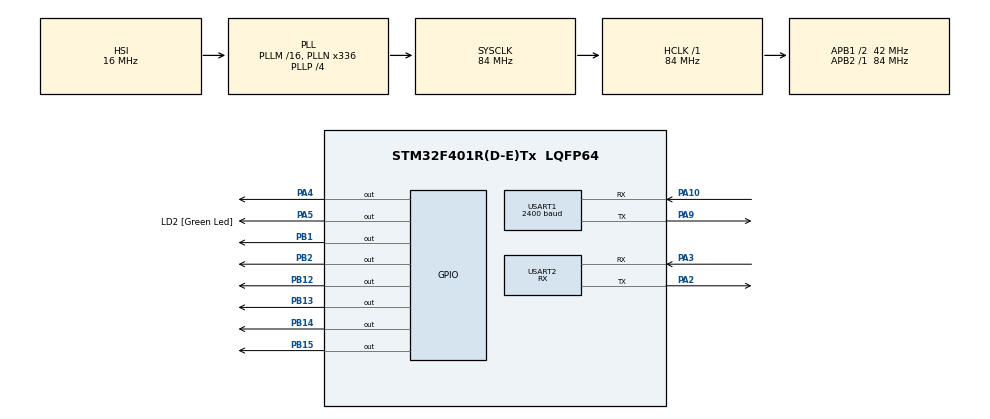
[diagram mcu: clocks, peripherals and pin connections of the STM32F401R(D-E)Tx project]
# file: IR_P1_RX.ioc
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Mcu.Family=STM32F4
Mcu.Name=STM32F401R(D-E)Tx
Mcu.Package=LQFP64
NVIC.PriorityGroup=NVIC_PRIORITYGROUP_0
NVIC.USART1_IRQn=true\:0\:0\:false\:false\:true\:true\:true\:true
NVIC.USART2_IRQn=true\:0\:0\:false\:false\:true\:true\:true\:true
PA10.Mode=Asynchronous
PA10.Signal=USART1_RX
PA13.GPIO_Label=TMS
PA13.Mode=Serial_Wire
PA13.Signal=SYS_JTMS-SWDIO
PA14.GPIO_Label=TCK
PA14.Mode=Serial_Wire
PA14.Signal=SYS_JTCK-SWCLK
PA2.Mode=Asynchronous
PA2.Signal=USART2_TX
PA3.Mode=Asynchronous
PA3.Signal=USART2_RX
PA4.Signal=GPIO_Output
PA5.GPIO_Label=LD2 [Green Led]
PA5.GPIO_Mode=GPIO_MODE_OUTPUT_PP
PA5.GPIO_PuPd=GPIO_NOPULL
PA5.GPIO_Speed=GPIO_SPEED_FREQ_LOW
PA5.Signal=GPIO_Output
PA9.Mode=Asynchronous
PA9.Signal=USART1_TX
PB1.Signal=GPIO_Output
PB12.Signal=GPIO_Output
PB13.Signal=GPIO_Output
PB14.Signal=GPIO_Output
PB15.Signal=GPIO_Output
PB2.Signal=GPIO_Output
PB3.GPIO_Label=SWO
PB3.Signal=SYS_JTDO-SWO
PC14-OSC32_IN.Mode=LSE-External-Oscillator
PC14-OSC32_IN.Signal=RCC_OSC32_IN
PC15-OSC32_OUT.Mode=LSE-External-Oscillator
PC15-OSC32_OUT.Signal=RCC_OSC32_OUT
PH0\ -\ OSC_IN.Mode=HSE-External-Clock-Source
PH0\ -\ OSC_IN.Signal=RCC_OSC_IN
PH1\ -\ OSC_OUT.Mode=HSE-External-Clock-Source
PH1\ -\ OSC_OUT.Signal=RCC_OSC_OUT
ProjectManager.HeapSize=0x200
ProjectManager.StackSize=0x400
ProjectManager.TargetToolchain=STM32CubeIDE
RCC.48MHZClocksFreq_Value=48000000
RCC.AHBFreq_Value=84000000
RCC.APB1CLKDivider=RCC_HCLK_DIV2
RCC.APB1Freq_Value=42000000
RCC.APB1TimFreq_Value=84000000
RCC.APB2Freq_Value=84000000
RCC.APB2TimFreq_Value=84000000
RCC.CortexFreq_Value=84000000
RCC.HCLKFreq_Value=84000000
RCC.HSE_VALUE=8000000
RCC.HSI_VALUE=16000000
RCC.PLLN=336
RCC.PLLP=RCC_PLLP_DIV4
RCC.PLLQ=7
RCC.SYSCLKFreq_VALUE=84000000
RCC.SYSCLKSource=RCC_SYSCLKSOURCE_PLLCLK
RCC.VCOOutputFreq_Value=336000000
USART1.BaudRate=2400
USART1.VirtualMode=VM_ASYNC
USART2.Mode=MODE_RX
USART2.VirtualMode=VM_ASYNC
board=NUCLEO-F401RE

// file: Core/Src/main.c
/* USER CODE BEGIN Header */
/**
  ******************************************************************************
  * @file           : main.c
  * @brief          : Main program body
  ******************************************************************************
  * @attention
  *
  * Copyright (c) 2024 STMicroelectronics.
  * All rights reserved.
  *
  * This software is licensed under terms that can be found in the LICENSE file
  * in the root directory of this software component.
  * If no LICENSE file comes with this software, it is provided AS-IS.
  *
  ******************************************************************************
  */
/* USER CODE END Header */
#include "main.h"

/* USER CODE BEGIN Includes */
#include "PMDB16_LCD.h"
#include "stdio.h"

/* USER CODE END Includes */

UART_HandleTypeDef huart1;
UART_HandleTypeDef huart2;

void SystemClock_Config(void);
static void MX_GPIO_Init(void);
static void MX_USART2_UART_Init(void);
static void MX_USART1_UART_Init(void);
/* USER CODE BEGIN PFP */
uint8_t	RX_data;     // Array that contains the ASCII information of the data transfer size
uint8_t packet_size;         // The size of the packet that has to be received, converted into integer
int rx_flag = 0;             // Packet Size Received Flag
char c;			    		 // It stores char of RxData[i]
char string[1] = {0};   // It stores the entire string received
int row = 0;		 // LCD line selector
/* USER CODE END PFP */

/* USER CODE BEGIN 0 */

void HAL_UART_RxCpltCallback(UART_HandleTypeDef *huart) {
	if (huart == &huart1) {
		sprintf(&string, "%c", RX_data);						// Convert data into a char
		lcd_clear();											// Clear the display
		lcd_println(string, row);								// Print the new word
		HAL_UART_Transmit_IT(&huart2, (uint8_t*)string, 1);		// Send to matlab uart
		memset(string, 0, sizeof(string));
		HAL_UART_Receive_IT(&huart1, RX_data, 1); 	// Proceed with getting the new data transmission
	}
}
/* USER CODE END 0 */

int main(void)
{

  /* MCU Configuration--------------------------------------------------------*/

  /* Reset of all peripherals, Initializes the Flash interface and the Systick. */
  HAL_Init();

  /* Configure the system clock */
  SystemClock_Config();

  /* Initialize all configured peripherals */
  MX_GPIO_Init();
  MX_USART2_UART_Init();
  MX_USART1_UART_Init();
  /* USER CODE BEGIN 2 */

  lcd_initialize();
  lcd_backlight_ON();
  lcd_clear();
  HAL_UART_Receive_IT(&huart1, RX_data, 1); // Receive the first byte
  /* USER CODE END 2 */

  /* Infinite loop */
  while (1)
  {

  }
}

void SystemClock_Config(void)
{
  RCC_OscInitTypeDef RCC_OscInitStruct = {0};
  RCC_ClkInitTypeDef RCC_ClkInitStruct = {0};

  /** Configure the main internal regulator output voltage
  */
  __HAL_RCC_PWR_CLK_ENABLE();
  __HAL_PWR_VOLTAGESCALING_CONFIG(PWR_REGULATOR_VOLTAGE_SCALE2);

  /** Initializes the RCC Oscillators according to the specified parameters
  * in the RCC_OscInitTypeDef structure.
  */
  RCC_OscInitStruct.OscillatorType = RCC_OSCILLATORTYPE_HSI;
  RCC_OscInitStruct.HSIState = RCC_HSI_ON;
  RCC_OscInitStruct.HSICalibrationValue = RCC_HSICALIBRATION_DEFAULT;
  RCC_OscInitStruct.PLL.PLLState = RCC_PLL_ON;
  RCC_OscInitStruct.PLL.PLLSource = RCC_PLLSOURCE_HSI;
  RCC_OscInitStruct.PLL.PLLM = 16;
  RCC_OscInitStruct.PLL.PLLN = 336;
  RCC_OscInitStruct.PLL.PLLP = RCC_PLLP_DIV4;
  RCC_OscInitStruct.PLL.PLLQ = 7;
  if (HAL_RCC_OscConfig(&RCC_OscInitStruct) != HAL_OK)
  {
    Error_Handler();
  }

  /** Initializes the CPU, AHB and APB buses clocks
  */
  RCC_ClkInitStruct.ClockType = RCC_CLOCKTYPE_HCLK|RCC_CLOCKTYPE_SYSCLK
                              |RCC_CLOCKTYPE_PCLK1|RCC_CLOCKTYPE_PCLK2;
  RCC_ClkInitStruct.SYSCLKSource = RCC_SYSCLKSOURCE_PLLCLK;
  RCC_ClkInitStruct.AHBCLKDivider = RCC_SYSCLK_DIV1;
  RCC_ClkInitStruct.APB1CLKDivider = RCC_HCLK_DIV2;
  RCC_ClkInitStruct.APB2CLKDivider = RCC_HCLK_DIV1;

  if (HAL_RCC_ClockConfig(&RCC_ClkInitStruct, FLASH_LATENCY_2) != HAL_OK)
  {
    Error_Handler();
  }
}

static void MX_USART1_UART_Init(void)
{

  huart1.Instance = USART1;
  huart1.Init.BaudRate = 2400;
  huart1.Init.WordLength = UART_WORDLENGTH_8B;
  huart1.Init.StopBits = UART_STOPBITS_1;
  huart1.Init.Parity = UART_PARITY_NONE;
  huart1.Init.Mode = UART_MODE_TX_RX;
  huart1.Init.HwFlowCtl = UART_HWCONTROL_NONE;
  huart1.Init.OverSampling = UART_OVERSAMPLING_16;
  if (HAL_UART_Init(&huart1) != HAL_OK)
  {
    Error_Handler();
  }

}

static void MX_USART2_UART_Init(void)
{

  huart2.Instance = USART2;
  huart2.Init.BaudRate = 115200;
  huart2.Init.WordLength = UART_WORDLENGTH_8B;
  huart2.Init.StopBits = UART_STOPBITS_1;
  huart2.Init.Parity = UART_PARITY_NONE;
  huart2.Init.Mode = UART_MODE_RX;
  huart2.Init.HwFlowCtl = UART_HWCONTROL_NONE;
  huart2.Init.OverSampling = UART_OVERSAMPLING_16;
  if (HAL_UART_Init(&huart2) != HAL_OK)
  {
    Error_Handler();
  }

}

static void MX_GPIO_Init(void)
{
  GPIO_InitTypeDef GPIO_InitStruct = {0};

  /* GPIO Ports Clock Enable */
  __HAL_RCC_GPIOC_CLK_ENABLE();
  __HAL_RCC_GPIOH_CLK_ENABLE();
  __HAL_RCC_GPIOA_CLK_ENABLE();
  __HAL_RCC_GPIOB_CLK_ENABLE();

  /*Configure GPIO pin Output Level */
  HAL_GPIO_WritePin(GPIOA, GPIO_PIN_4|LD2_Pin, GPIO_PIN_RESET);

  /*Configure GPIO pin Output Level */
  HAL_GPIO_WritePin(GPIOB, GPIO_PIN_1|GPIO_PIN_2|GPIO_PIN_12|GPIO_PIN_13
                          |GPIO_PIN_14|GPIO_PIN_15, GPIO_PIN_RESET);

  /*Configure GPIO pins : PA4 LD2_Pin */
  GPIO_InitStruct.Pin = GPIO_PIN_4|LD2_Pin;
  GPIO_InitStruct.Mode = GPIO_MODE_OUTPUT_PP;
  GPIO_InitStruct.Pull = GPIO_NOPULL;
  GPIO_InitStruct.Speed = GPIO_SPEED_FREQ_LOW;
  HAL_GPIO_Init(GPIOA, &GPIO_InitStruct);

  /*Configure GPIO pins : PB1 PB2 PB12 PB13
                           PB14 PB15 */
  GPIO_InitStruct.Pin = GPIO_PIN_1|GPIO_PIN_2|GPIO_PIN_12|GPIO_PIN_13
                          |GPIO_PIN_14|GPIO_PIN_15;
  GPIO_InitStruct.Mode = GPIO_MODE_OUTPUT_PP;
  GPIO_InitStruct.Pull = GPIO_NOPULL;
  GPIO_InitStruct.Speed = GPIO_SPEED_FREQ_LOW;
  HAL_GPIO_Init(GPIOB, &GPIO_InitStruct);

}

void Error_Handler(void)
{
  __disable_irq();
  while (1)
  {
  }
}
